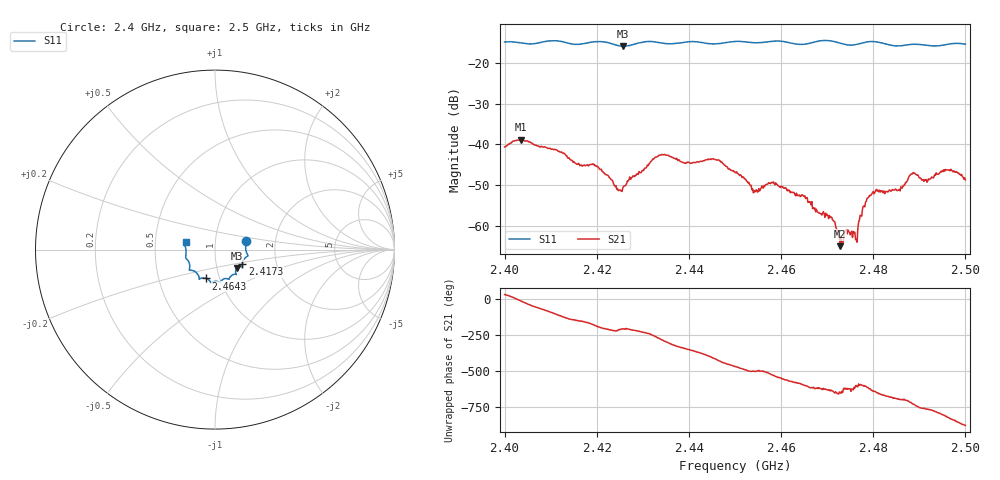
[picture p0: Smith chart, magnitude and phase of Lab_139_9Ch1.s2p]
# Hz S RI R 50
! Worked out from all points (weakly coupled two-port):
!   601 points, 2.4 GHz to 2.5 GHz, reference 50 ohm
!   highest |S21| = -38.86 dB at 2.4035 GHz (marker M1); lowest = -65.0 dB at 2.4728 GHz (marker M2)
!   lowest |S11| = -15.9 dB at 2.4257 GHz (marker M3), VSWR 1.38, Z = 62.5 - j13.1 ohm
!   |S11| at or under -10 dB: start of sweep to end of sweep
!   S12 and S22 are empty: the file has one direction only
!   S11 on the Smith chart (normalised r, x): 2.4 GHz: 1.41, +0.14; 2.4173 GHz: 1.34, -0.23; 2.4643 GHz: 0.86, -0.28; 2.5 GHz: 0.72, +0.06
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2.4e9  0.1733 0.0486  0.0077 0.00514  0 0  0 0
2.4035e9  0.1733 0.0303  0.0112 -0.00213  0 0  0 0
2.416667e9  0.1527 -0.0747  -0.00496 -0.00254  0 0  0 0
2.417333e9  0.1519 -0.0821  -0.00509 -0.00221  0 0  0 0
2.425667e9  0.1227 -0.1025  -0.00267 0.00121  0 0  0 0
2.433333e9  0.1129 -0.1371  -0.000212 0.00715  0 0  0 0
2.4455e9  0.0513 -0.1627  0.00411 -0.00506  0 0  0 0
2.45e9  0.0288 -0.1809  -0.00142 -0.00431  0 0  0 0
2.4545e9  0.006 -0.1761  -0.00214 -0.00168  0 0  0 0
2.457833e9  -0.0184 -0.1823  -0.00322 -0.000989  0 0  0 0
2.464333e9  -0.0499 -0.1605  -0.0015 0.00176  0 0  0 0
2.466667e9  -0.076 -0.1592  -0.000533 0.0019  0 0  0 0
2.471167e9  -0.0877 -0.162  0.000162 0.00117  0 0  0 0
2.472833e9  -0.0906 -0.1486  0.000167 0.000536  0 0  0 0
2.474333e9  -0.1002 -0.1326  -0.000136 0.000783  0 0  0 0
2.476e9  -0.116 -0.1194  -0.000179 0.000815  0 0  0 0
2.4795e9  -0.1424 -0.1141  -8.45e-06 0.00238  0 0  0 0
2.483333e9  -0.1407 -0.0898  0.00191 0.00181  0 0  0 0
2.488667e9  -0.1623 -0.047  0.00444 -0.000714  0 0  0 0
2.491333e9  -0.1618 -0.0316  0.00261 -0.00252  0 0  0 0
2.496333e9  -0.1679 0.0223  -0.00107 -0.0047  0 0  0 0
2.5e9  -0.1637 0.0427  -0.00339 -0.00137  0 0  0 0
